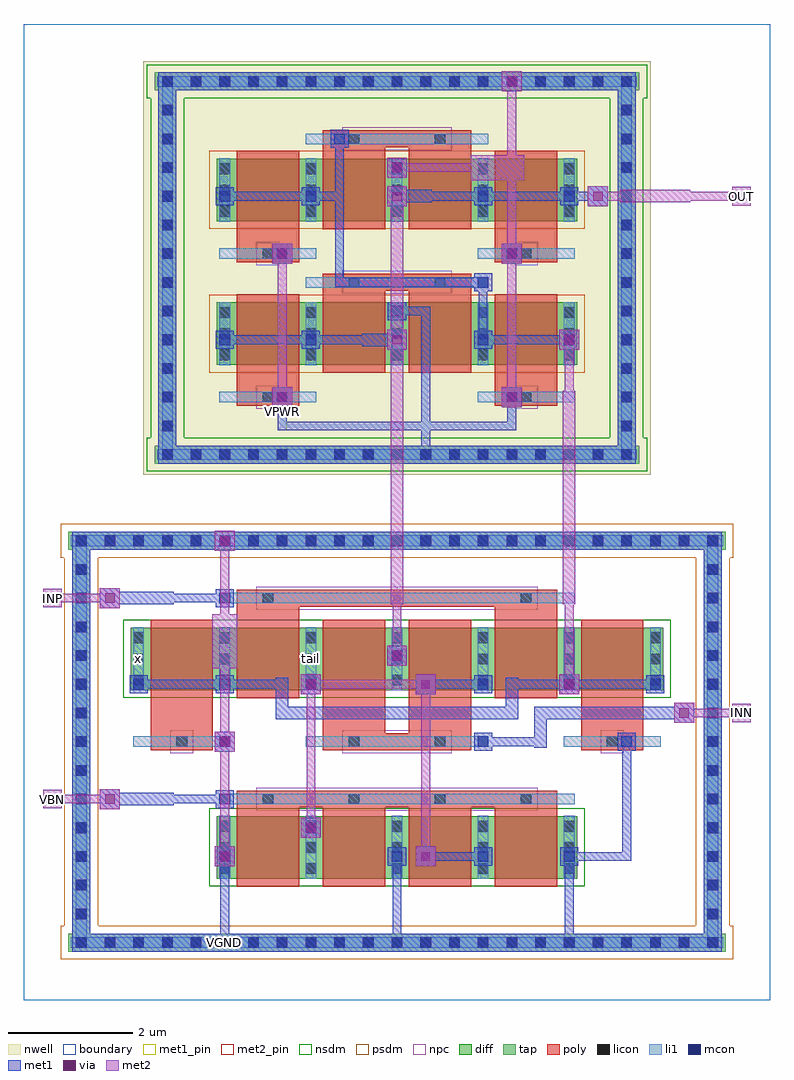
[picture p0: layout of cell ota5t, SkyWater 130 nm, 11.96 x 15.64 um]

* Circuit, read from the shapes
.subckt ota5t INN INP OUT VBN VGND VPWR tail x
XM1 x VGND x VGND sky130_fd_pr__nfet_01v8 w=1 l=1 m=2
XM2 tail VBN VGND VGND sky130_fd_pr__nfet_01v8 w=1 l=1 m=4
XM3 tail INP x VGND sky130_fd_pr__nfet_01v8 w=1 l=1 m=2
XM4 OUT INN tail VGND sky130_fd_pr__nfet_01v8 w=1 l=1 m=2
XM5 OUT VPWR OUT VPWR sky130_fd_pr__pfet_01v8 w=1 l=1 m=2
XM6 x VPWR x VPWR sky130_fd_pr__pfet_01v8 w=1 l=1 m=2
XM7 VPWR x OUT VPWR sky130_fd_pr__pfet_01v8 w=1 l=1 m=2
XM8 VPWR x x VPWR sky130_fd_pr__pfet_01v8 w=1 l=1 m=2
.ends

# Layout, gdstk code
import gdstk
lib = gdstk.Library(unit=1e-6, precision=1e-09)
def R(c, l, rs):  # rectangles x0, y0, x1, y1
    for r in rs: c.add(gdstk.rectangle(r[:2], r[2:], *l))
def A(c, l, x, y, w, h, nx, ny, dx, dy):  # array of equal rectangles
    R(c, l, [(x+i*dx, y+j*dy, x+i*dx+w, y+j*dy+h) for i in range(nx) for j in range(ny)])
nwell = (64, 20)
diff = (65, 20)
tap = (65, 44)
poly = (66, 20)
licon = (66, 44)
li1 = (67, 20)
mcon = (67, 44)
met1_pin = (68, 16)
met1 = (68, 20)
via = (68, 44)
met2_pin = (69, 16)
met2 = (69, 20)
nsdm = (93, 44)
psdm = (94, 20)
npc = (95, 20)
boundary = (235, 4)

ota5t = lib.new_cell('ota5t')
R(ota5t, nwell, [(1.915,8.415,10.045,15.045)])
R(ota5t, diff, [(3.095,1.945,8.865,2.945), (1.715,4.965,10.245,5.965), (3.095,10.18,8.865,11.18), (3.095,12.48,8.865,13.48)])
R(ota5t, tap, [(0.715,0.775,11.245,1.065), (0.775,0.775,1.065,7.505), (10.895,0.775,11.185,7.505), (0.715,7.215,11.245,7.505), (2.095,8.595,9.865,8.885), (2.155,8.595,2.445,14.865), (9.515,8.595,9.805,14.865), (2.095,14.575,9.865,14.865)])
A(ota5t, poly, 3.41, 1.815, 1, 1.405, 4, 1, 1.38, 0)
R(ota5t, poly, [(3.41,3.085,8.55,3.355), (2.03,4.005,3.03,4.275), (4.79,4.005,7.17,4.275), (8.93,4.005,9.93,4.275), (2.03,4.14,3.03,6.095), (4.79,4.14,5.79,6.095), (6.17,4.14,7.17,6.095), (8.93,4.14,9.93,6.095), (3.41,4.835,4.41,6.44), (7.55,4.835,8.55,6.44), (3.41,6.305,8.55,6.575), (3.41,9.525,4.41,9.795), (7.55,9.525,8.55,9.795), (3.41,9.66,4.41,11.31), (7.55,9.66,8.55,11.31), (4.79,10.05,5.79,11.5), (6.17,10.05,7.17,11.5), (4.79,11.365,7.17,11.635), (3.41,11.825,4.41,12.095), (7.55,11.825,8.55,12.095), (3.41,11.96,4.41,13.61), (7.55,11.96,8.55,13.61), (4.79,12.35,5.79,13.8), (6.17,12.35,7.17,13.8), (4.79,13.665,7.17,13.935)])
A(ota5t, licon, 0.835, 0.835, 0.17, 0.17, 23, 2, 0.46, 6.44)
A(ota5t, licon, 0.835, 1.295, 0.17, 0.17, 1, 13, 0, 0.46)
A(ota5t, licon, 10.955, 1.295, 0.17, 0.17, 1, 13, 0, 0.46)
A(ota5t, licon, 3.135, 2.02, 0.17, 0.17, 5, 3, 1.38, 0.34)
A(ota5t, licon, 3.825, 3.135, 0.17, 0.17, 4, 1, 1.38, 0)
A(ota5t, licon, 1.755, 5.04, 0.17, 0.17, 7, 3, 1.38, 0.34)
A(ota5t, licon, 2.215, 8.655, 0.17, 0.17, 17, 2, 0.46, 5.98)
A(ota5t, licon, 2.215, 9.115, 0.17, 0.17, 1, 12, 0, 0.46)
A(ota5t, licon, 9.575, 9.115, 0.17, 0.17, 1, 12, 0, 0.46)
A(ota5t, licon, 3.135, 10.255, 0.17, 0.17, 5, 3, 1.38, 0.34)
A(ota5t, licon, 3.135, 12.555, 0.17, 0.17, 5, 3, 1.38, 0.34)
R(ota5t, licon, [(2.445,4.055,2.615,4.225), (5.205,4.055,5.375,4.225), (6.585,4.055,6.755,4.225), (9.345,4.055,9.515,4.225), (3.825,6.355,3.995,6.525), (7.965,6.355,8.135,6.525), (3.825,9.575,3.995,9.745), (7.965,9.575,8.135,9.745), (5.205,11.415,5.375,11.585), (6.585,11.415,6.755,11.585), (3.825,11.875,3.995,12.045), (7.965,11.875,8.135,12.045), (5.205,13.715,5.375,13.885), (6.585,13.715,6.755,13.885)])
A(ota5t, li1, 3.135, 1.94, 0.17, 1.01, 5, 2, 1.38, 8.235)
A(ota5t, li1, 1.755, 4.96, 0.17, 1.01, 7, 1, 1.38, 0)
A(ota5t, li1, 3.135, 12.475, 0.17, 1.01, 5, 1, 1.38, 0)
R(ota5t, li1, [(0.755,0.835,11.205,1.005), (0.835,0.835,1.005,7.445), (10.955,0.835,11.125,7.445), (3.135,3.135,8.825,3.305), (1.755,4.055,3.305,4.225), (4.515,4.055,7.445,4.225), (8.655,4.055,10.205,4.225), (3.135,6.355,8.825,6.525), (0.755,7.275,11.205,7.445), (2.135,8.655,9.825,8.825), (2.215,8.655,2.385,14.805), (9.575,8.655,9.745,14.805), (3.135,9.575,4.685,9.745), (7.275,9.575,8.825,9.745), (4.515,11.415,7.445,11.585), (3.135,11.875,4.685,12.045), (7.275,11.875,8.825,12.045), (4.515,13.715,7.445,13.885), (2.135,14.635,9.825,14.805)])
A(ota5t, mcon, 0.835, 0.835, 0.17, 0.17, 23, 2, 0.46, 6.44)
A(ota5t, mcon, 0.835, 1.295, 0.17, 0.17, 1, 9, 0, 0.46)
A(ota5t, mcon, 10.955, 1.295, 0.17, 0.17, 1, 9, 0, 0.46)
A(ota5t, mcon, 3.135, 2.215, 0.17, 0.17, 1, 3, 0, 0.92)
A(ota5t, mcon, 5.895, 2.215, 0.17, 0.17, 3, 1, 1.38, 0)
A(ota5t, mcon, 1.755, 4.975, 0.17, 0.17, 3, 1, 1.38, 0)
A(ota5t, mcon, 7.275, 4.975, 0.17, 0.17, 3, 1, 1.38, 0)
A(ota5t, mcon, 0.835, 5.435, 0.17, 0.17, 3, 1, 5.06, 0)
A(ota5t, mcon, 0.835, 5.895, 0.17, 0.17, 1, 3, 0, 0.46)
A(ota5t, mcon, 10.955, 5.895, 0.17, 0.17, 1, 3, 0, 0.46)
A(ota5t, mcon, 2.215, 8.655, 0.17, 0.17, 17, 2, 0.46, 5.98)
A(ota5t, mcon, 2.215, 9.115, 0.17, 0.17, 1, 4, 0, 0.46)
A(ota5t, mcon, 9.575, 9.115, 0.17, 0.17, 1, 4, 0, 0.46)
A(ota5t, mcon, 2.215, 10.955, 0.17, 0.17, 3, 2, 3.68, 2.3)
A(ota5t, mcon, 2.215, 11.415, 0.17, 0.17, 1, 4, 0, 0.46)
A(ota5t, mcon, 9.575, 11.415, 0.17, 0.17, 1, 4, 0, 0.46)
R(ota5t, mcon, [(4.515,2.675,4.685,2.845), (7.275,4.055,7.445,4.225), (9.575,4.055,9.745,4.225), (3.135,6.355,3.305,6.525), (4.055,9.575,4.225,9.745), (7.735,9.575,7.905,9.745), (3.135,10.495,3.305,10.665), (4.515,10.495,4.685,10.665), (7.275,10.495,7.445,10.665), (8.655,10.495,8.825,10.665), (7.275,11.415,7.445,11.585), (4.055,11.875,4.225,12.045), (7.735,11.875,7.905,12.045), (3.135,12.795,3.305,12.965), (4.515,12.795,4.685,12.965), (7.275,12.795,7.445,12.965), (8.655,12.795,8.825,12.965), (2.215,13.715,2.385,13.885), (4.975,13.715,5.145,13.885), (9.575,13.715,9.745,13.885), (2.215,14.175,2.385,14.345), (9.575,14.175,9.745,14.345)])
R(ota5t, met1_pin, [(3.15,0.85,3.29,0.99), (4.07,9.13,4.21,9.73)])
A(ota5t, met1, 3.15, 0.85, 0.14, 1.52, 3, 1, 2.76, 0)
A(ota5t, met1, 3.075, 2.155, 0.29, 0.29, 1, 3, 0, 0.92)
A(ota5t, met1, 5.835, 2.155, 0.29, 0.29, 3, 1, 1.38, 0)
A(ota5t, met1, 1.695, 4.915, 0.29, 0.29, 3, 1, 1.38, 0)
A(ota5t, met1, 7.215, 4.915, 0.29, 0.29, 3, 1, 1.38, 0)
R(ota5t, met1, [(0.775,0.775,11.185,1.065), (0.775,0.775,1.065,7.505), (10.895,0.775,11.185,7.505), (3.15,0.85,6.05,0.99), (3.15,0.85,3.29,0.99), (5.91,0.85,8.81,0.99), (3.06,2.14,3.38,2.46), (6.28,2.14,6.6,2.46), (6.37,2.23,7.43,2.37), (8.67,2.23,9.73,2.37), (9.59,2.23,9.73,4.21), (4.44,2.6,4.76,2.92), (4.455,2.615,4.745,2.905), (1.22,3.06,1.54,3.38), (1.28,3.12,2.4,3.32), (2.23,3.15,3.29,3.29), (3.06,3.98,3.38,4.3), (7.215,3.995,7.505,4.285), (9.515,3.995,9.805,4.285), (8.18,4.04,8.38,4.7), (7.29,4.07,8.35,4.21), (10.42,4.44,10.74,4.76), (4.04,4.5,7.92,4.7), (4.04,4.5,4.24,5.16), (7.72,4.5,7.92,5.16), (8.18,4.5,10.68,4.7), (4.44,4.9,4.76,5.22), (6.28,4.9,6.6,5.22), (8.58,4.9,8.9,5.22), (1.77,4.99,3.29,5.13), (3.15,4.99,4.21,5.13), (6.37,4.99,7.43,5.13), (7.75,4.99,8.81,5.13), (8.67,4.99,10.19,5.13), (5.82,5.36,6.14,5.68), (5.835,5.375,6.125,5.665), (1.22,6.28,1.54,6.6), (3.075,6.295,3.365,6.585), (1.28,6.34,2.4,6.54), (2.23,6.37,3.29,6.51), (3.06,7.2,3.38,7.52), (0.775,7.215,11.185,7.505), (3.15,7.29,3.29,7.43), (2.155,8.595,9.805,8.885), (2.155,8.595,2.445,14.865), (9.515,8.595,9.805,14.865), (6.37,8.67,6.51,8.81), (6.37,8.67,6.51,11.11), (4.07,9.13,6.51,9.27), (4.07,9.13,4.21,9.73), (6.37,9.13,7.89,9.27), (7.75,9.13,7.89,9.73), (3.98,9.5,4.3,9.82), (7.66,9.5,7.98,9.82), (3.995,9.515,4.285,9.805), (7.675,9.515,7.965,9.805), (5.82,10.42,6.14,10.74), (8.58,10.42,8.9,10.74), (3.075,10.435,3.365,10.725), (4.455,10.435,4.745,10.725), (7.215,10.435,7.505,10.725), (8.595,10.435,8.885,10.725), (5.42,10.48,6.08,10.68), (3.15,10.51,4.67,10.65), (4.53,10.51,5.59,10.65), (7.29,10.51,8.81,10.65), (7.29,10.51,7.43,11.57), (5.835,10.895,6.125,11.185), (5.91,10.97,6.51,11.11), (7.215,11.355,7.505,11.645), (4.99,11.43,7.43,11.57), (4.99,11.43,5.13,12.95), (3.98,11.8,4.3,12.12), (7.66,11.8,7.98,12.12), (3.995,11.815,4.285,12.105), (7.675,11.815,7.965,12.105), (5.82,12.72,6.14,13.04), (9.04,12.72,9.36,13.04), (3.075,12.735,3.365,13.025), (4.455,12.735,4.745,13.025), (7.215,12.735,7.505,13.025), (8.595,12.735,8.885,13.025), (5.88,12.78,6.54,12.98), (3.15,12.81,4.67,12.95), (4.53,12.81,5.13,12.95), (4.99,12.81,5.13,13.87), (6.37,12.81,7.43,12.95), (7.29,12.81,8.81,12.95), (8.67,12.81,9.27,12.95), (5.82,13.18,6.14,13.5), (5.835,13.195,6.125,13.485), (4.915,13.655,5.205,13.945), (7.66,14.56,7.98,14.88), (2.155,14.575,9.805,14.865), (7.75,14.65,7.89,14.79)])
R(ota5t, via, [(3.145,2.225,3.295,2.375), (6.365,2.225,6.515,2.375), (4.525,2.685,4.675,2.835), (1.305,3.145,1.455,3.295), (3.145,4.065,3.295,4.215), (10.505,4.525,10.655,4.675), (4.525,4.985,4.675,5.135), (6.365,4.985,6.515,5.135), (8.665,4.985,8.815,5.135), (5.905,5.445,6.055,5.595), (1.305,6.365,1.455,6.515), (3.145,7.285,3.295,7.435), (4.065,9.585,4.215,9.735), (7.745,9.585,7.895,9.735), (5.905,10.505,6.055,10.655), (8.665,10.505,8.815,10.655), (4.065,11.885,4.215,12.035), (7.745,11.885,7.895,12.035), (5.905,12.805,6.055,12.955), (9.125,12.805,9.275,12.955), (5.905,13.265,6.055,13.415), (7.745,14.645,7.895,14.795)])
R(ota5t, met2_pin, [(0.31,3.07,0.61,3.37), (11.35,4.45,11.65,4.75), (0.31,6.29,0.61,6.59), (11.35,12.73,11.65,13.03)])
R(ota5t, met2, [(3.06,2.14,3.38,2.46), (6.28,2.14,6.6,2.46), (3.15,2.23,3.29,4.21), (6.37,2.23,6.51,5.13), (4.44,2.6,4.76,2.92), (4.53,2.69,4.67,5.13), (1.22,3.06,1.54,3.38), (0.31,3.07,0.61,3.37), (0.39,3.15,0.53,3.29), (0.39,3.15,1.45,3.29), (3.06,3.98,3.38,4.3), (3.15,4.07,3.29,5.59), (10.42,4.44,10.74,4.76), (11.35,4.45,11.65,4.75), (10.51,4.53,11.57,4.67), (11.43,4.53,11.57,4.67), (4.44,4.9,4.76,5.22), (6.28,4.9,6.6,5.22), (8.58,4.9,8.9,5.22), (4.53,4.99,6.51,5.13), (8.67,4.99,8.81,6.51), (3.02,5.32,3.42,6.18), (5.82,5.36,6.14,5.68), (5.91,5.45,6.05,6.51), (3.15,5.91,3.29,7.43), (1.22,6.28,1.54,6.6), (0.31,6.29,0.61,6.59), (5.88,6.34,6.08,10.68), (8.64,6.34,8.84,9.76), (0.39,6.37,0.53,6.51), (0.39,6.37,1.45,6.51), (3.06,7.2,3.38,7.52), (3.98,9.5,4.3,9.82), (7.66,9.5,7.98,9.82), (4.07,9.59,4.21,12.03), (7.75,9.59,7.89,12.03), (8.67,9.59,8.81,10.65), (5.82,10.42,6.14,10.74), (8.58,10.42,8.9,10.74), (5.88,10.48,6.08,12.98), (3.98,11.8,4.3,12.12), (7.66,11.8,7.98,12.12), (7.75,11.89,7.89,14.79), (5.82,12.72,6.14,13.04), (9.04,12.72,9.36,13.04), (11.35,12.73,11.65,13.03), (9.56,12.78,10.68,12.98), (9.13,12.81,9.73,12.95), (10.51,12.81,11.57,12.95), (11.43,12.81,11.57,12.95), (7.16,13.14,8.02,13.54), (5.82,13.18,6.14,13.5), (5.91,13.27,7.43,13.41), (7.66,14.56,7.98,14.88)])
R(ota5t, nsdm, [(2.97,1.82,8.99,3.07), (1.59,4.84,10.37,6.09), (1.97,8.47,9.99,9.01), (2.03,9.01,2.57,14.45), (9.39,9.01,9.93,14.45), (1.97,14.45,9.99,14.99)])
R(ota5t, psdm, [(0.59,0.65,11.37,1.19), (0.65,1.19,1.19,7.09), (10.77,1.19,11.31,7.09), (0.59,7.09,11.37,7.63), (2.97,10.055,8.99,11.305), (2.97,12.355,8.99,13.605)])
R(ota5t, npc, [(3.725,3.035,8.235,3.405), (2.345,3.955,2.715,4.325), (5.105,3.955,6.855,4.325), (9.245,3.955,9.615,4.325), (3.725,6.255,8.235,6.625), (3.725,9.475,4.095,9.845), (7.865,9.475,8.235,9.845), (5.105,11.315,6.855,11.685), (3.725,11.775,4.095,12.145), (7.865,11.775,8.235,12.145), (5.105,13.615,6.855,13.985)])
R(ota5t, boundary, [(0,0,11.96,15.64)])
ota5t.add(gdstk.Label('x', (1.84,5.465), layer=67, texttype=5))
ota5t.add(gdstk.Label('tail', (4.6,5.465), layer=67, texttype=5))
ota5t.add(gdstk.Label('VPWR', (4.14,9.43), layer=68, texttype=5))
ota5t.add(gdstk.Label('VGND', (3.22,0.92), layer=68, texttype=5))
ota5t.add(gdstk.Label('INP', (0.46,6.44), layer=69, texttype=5))
ota5t.add(gdstk.Label('INN', (11.5,4.6), layer=69, texttype=5))
ota5t.add(gdstk.Label('VBN', (0.46,3.22), layer=69, texttype=5))
ota5t.add(gdstk.Label('OUT', (11.5,12.88), layer=69, texttype=5))
ota5t.add(gdstk.Label('VPWR', (4.14,9.43), layer=68, texttype=16))
ota5t.add(gdstk.Label('VGND', (3.22,0.92), layer=68, texttype=16))
ota5t.add(gdstk.Label('INP', (0.46,6.44), layer=69, texttype=16))
ota5t.add(gdstk.Label('INN', (11.5,4.6), layer=69, texttype=16))
ota5t.add(gdstk.Label('VBN', (0.46,3.22), layer=69, texttype=16))
ota5t.add(gdstk.Label('OUT', (11.5,12.88), layer=69, texttype=16))

lib.write_gds('ota5t.gds')
